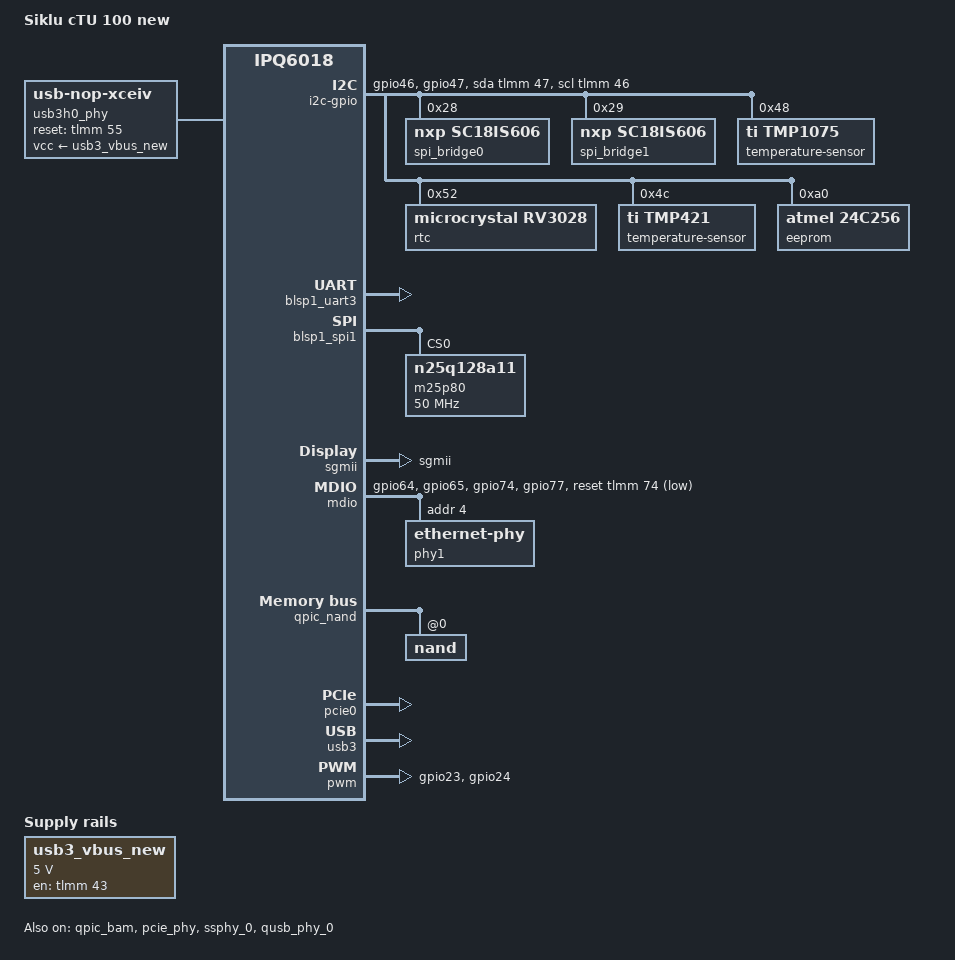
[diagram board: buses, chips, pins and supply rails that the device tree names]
// SPDX-License-Identifier: (GPL-2.0+ OR BSD-3-Clause)
/*
 * IPQ6018 CP01 board device tree source
 *
 * Copyright (c) 2019-2020 The Linux Foundation. All rights reserved.
 */

/dts-v1/;

#include <dt-bindings/gpio/gpio.h>
#include "ipq6018.dtsi"

/ {
	model = "Siklu cTU 100 new";
	compatible = "siklu,ipq6018-ctu", "qcom,ipq6018";

	aliases {
		serial0 = &blsp1_uart3;
		ethernet0 = &sgmii;
		ethernet1 = &wigig0;
		wigig_device_tu = &wigig0;
	};

	/* Declare wigig devices for the gen_node_info_file.sh script.
	   Note that this declaration is not used by any driver and resides in
	   the dts by Facebook convention only. */
	wigig_devices {
		wigig0: wigig@0 {
			pci-bus = "0000:01:00.0";
		};
	};

	/*
	* We have two HWs: PCB263A v1 and PCB263A v2. 
	* On PCB263A v1 (old), the USB reset pin is on GPIO55, 
	* On PCB263A v2 (new). the USB reset pin is on GPIO43.
	* In order to support both of them together, we will need to 
	* reset both pins. In order to do so, we are using the `reset-gpios`
	* to trigger the old reset, along with a fixed regulator passed
	* through `vcc-supply` to trigger the new reset.
	* So at the end, both GPIOs will be active once usb3h0_phy will be 
	* needed.
	*/
	usb3_vbus_new: regulator-usb3-new {
		compatible = "regulator-fixed";
		regulator-min-microvolt = <5000000>;
		regulator-max-microvolt = <5000000>;
		gpio = <&tlmm 43 GPIO_ACTIVE_HIGH>;
		enable-active-high;
		regulator-name = "usb3_vbus";
		status = "okay";
		pinctrl-0 = <&usb3_reset_pins_new>;
		pinctrl-names = "default";
	};

	usb3h0_phy: usb3_phy0 {
		compatible = "usb-nop-xceiv";
		reset-gpios = <&tlmm 55 GPIO_ACTIVE_HIGH>;
		pinctrl-0 = <&usb3_reset_pins_old>;
		pinctrl-names = "default";
		vcc-supply = <&usb3_vbus_new>;
	};

	chosen {
		stdout-path = "serial0:115200n8";
		bootargs = " swiotlb=1 isolcpus=2,3 ro cma=32m default_hugepagesz=2m hugepagesz=2m hugepages=80 usbcore.quirks=2357:0601:k";
	};

	/*
	* +=========+==============+========================+
	* |        |              |                         |
	* | Region | Start Offset |          Size           |
	* |        |              |                         |
	* +--------+--------------+-------------------------+
	* |        |              |                         |
	* |        |              |                         |
	* |        |              |                         |
	* |        |              |                         |
	* | Linux  |  0x41000000  |         139MB           |
	* |        |              |                         |
	* |        |              |                         |
	* |        |              |                         |
	* +--------+--------------+-------------------------+
	* | TZ App |  0x49B00000  |           6MB           |
	* +--------+--------------+-------------------------+
	*
	* From the available 145 MB for Linux in the first 256 MB,
	* we are reserving 6 MB for TZAPP.
	*
	* Refer arch/arm64/boot/dts/qcom/ipq6018-memory.dtsi
	* for memory layout.
	*/

	/* TZApp is enabled in default memory profile only. */
	/* This below reservation must be updated when LM support is added. */
	reserved-memory {
		tzapp:tzapp@49B00000 {  /* TZAPPS */
			no-map;
			reg = <0x0 0x49B00000 0x0 0x00600000>;
		};

		ramoops@50000000 {
			compatible = "ramoops";
			reg = <0x0 0x50000000 0x0 0x10000>;
			record-size = <0x4000>;
		};
	};

	i2c-gpio {
		compatible = "i2c-gpio";
		#address-cells = <1>;
		#size-cells = <0>;
		pinctrl-0 = <&i2c_gpio_pins>;
		pinctrl-names = "default";
		scl-gpios = <&tlmm 46 (GPIO_ACTIVE_HIGH | GPIO_OPEN_DRAIN)>;
		sda-gpios = <&tlmm 47 (GPIO_ACTIVE_HIGH | GPIO_OPEN_DRAIN)>;
		status = "okay";

		// // move to dtso?
		spi_bridge0: spi@28 {
			compatible = "nxp,sc18is606";
			reg = <0x28>;
			// spidev in compatible string is not supported so use random one from supported list...
			spidev@0 {
				compatible = "menlo,m53cpld";
				reg = <0>;
				// tweak speed later
				spi-max-frequency = <25000000>;
			};
			spidev@1 {
				compatible = "menlo,m53cpld";
				reg = <0>;
				spi-max-frequency = <25000000>;
			};
			spidev@2 {
				compatible = "menlo,m53cpld";
				reg = <0>;
				spi-max-frequency = <25000000>;
			};
		};
		// move to dtso?
		spi_bridge1: spi@29 {
			compatible = "nxp,sc18is606";
			reg = <0x29>;
			
			spidev@0 {
				compatible = "menlo,m53cpld";
				reg = <0>;
				spi-max-frequency = <25000000>;
			};
			spidev@1 {
				compatible = "menlo,m53cpld";
				reg = <0>;
				spi-max-frequency = <25000000>;
			};
			spidev@2 {
				compatible = "menlo,m53cpld";
				reg = <0>;
				spi-max-frequency = <25000000>;
			};
		};

		// move to dtso as part of RF board
		temperature-sensor@48 {
				compatible = "ti,tmp1075";
				reg = <0x48>;
		};

		rtc@52 {
			device_type = "rtc";
			compatible = "microcrystal,rv3028";
			reg = <0x52>;
			backup-switchover-mode;
			dsm-mode;
			trickle-resistor-ohms = <3000>;
		};

		temperature-sensor@4c {
			compatible = "ti,tmp421";
			reg = <0x4c>;
		};

		eeprom@a0 {
			compatible = "atmel,24c256"; // AT24CM02 should be compatible with this
			reg = <0xa0>;
			pagesize = <256>; 
			status = "okay";
		};
	};
};

&blsp1_uart3 {
	pinctrl-0 = <&serial_3_pins>;
	pinctrl-names = "default";
	status = "ok";
};

&blsp1_spi1 {
	cs-select = <0>;
	status = "ok";

	m25p80@0 {
		#address-cells = <1>;
		#size-cells = <1>;
		reg = <0>;
		compatible = "n25q128a11";
		spi-max-frequency = <50000000>;

		partitions {
			compatible = "qcom,smem-part";
		};
	};
};

&tlmm {
	i2c_gpio_pins: i2c-gpio-pins {
		pins = "gpio46", "gpio47";
		function = "gpio";
		drive-strength = <8>;
	};

	spi_0_pins: spi-0-pins {
		pins = "gpio38", "gpio39", "gpio40", "gpio41";
		function = "blsp0_spi";
		drive-strength = <8>;
		bias-pull-down;
	};

	usb3_reset_pins_old: usb3-reset-old-pins {
		pins = "gpio55";
		function = "gpio";
		drive-strength = <8>;
	};

	usb3_reset_pins_new: usb3-reset-new-pins {
		pins = "gpio43";
		function = "gpio";
		drive-strength = <8>;
		bias-pull-up;
	};

	pwm_pins: pwm-pins {
		/* Power LED yellow part */
		mux_0 {
			pins = "gpio23";
			function = "pwm12";
		};
		/* Power LED green part */
		mux_1 {
			pins = "gpio24";
			function = "pwm22";
		};
	};

	mdio_pins: mdio_pinmux {
		mux_0 {
			pins = "gpio64";
			function = "mdc";
			drive-strength = <8>;
			bias-pull-up;
		};
		mux_1 {
			pins = "gpio65";
			function = "mdio";
			drive-strength = <8>;
			bias-pull-up;
		};
		mux_2 {
			pins = "gpio74";
			function = "gpio";
			bias-pull-up;
		};
		mux_3 {
			pins = "gpio77";
			function = "gpio";
			bias-pull-up;
		};
	};
};

&soc {
	sgmii: dp2 {
		device_type = "network";
		compatible = "qcom,nss-dp";
		qcom,id = <3>;
		reg = <0x0 0x3a001600 0x0 0x200>;
		qcom,mactype = <0>;
		local-mac-address = [000000000000];
		qcom,link-poll = <1>;
		mdio-bus = <&mdio>;
		qcom,phy-mdio-addr = <4>;
		phy-mode = "sgmii";
		siklu_port_name = "eth1";
	};

	ess-switch@3a000000 {
		switch_cpu_bmp = <0x1>;  /* cpu port bitmap */
		switch_lan_bmp = <0x18>; /* lan port bitmap */
		switch_wan_bmp = <0x20>; /* wan port bitmap */
		switch_inner_bmp = <0xc0>; /*inner port bitmap*/
		switch_mac_mode = <0x0>; /* mac mode for uniphy instance0*/
		switch_mac_mode1 = <0xf>; /* mac mode for uniphy instance1*/
		switch_mac_mode2 = <0xff>; /* mac mode for uniphy instance2*/
		mdio-bus = <&mdio>;
		qcom,port_phyinfo {
			port@4 {
				port_id = <3>;
				phy_address = <4>;
			};
		};
	};
};

&mdio {
	pinctrl-0 = <&mdio_pins>;
	pinctrl-names = "default";
	reset-gpios = <&tlmm 74 GPIO_ACTIVE_LOW>;
	reset-assert-us = <2000>;
	status = "okay";
	phy1: ethernet-phy@4 {
		reg = <4>;
	};
};

&qpic_bam {
	status = "ok";
};

&qpic_nand {
	status = "ok";

	nand@0 {
		reg = <0>;
		#address-cells = <1>;
		#size-cells = <1>;

		nand-ecc-strength = <8>;
		nand-ecc-step-size = <512>;
		nand-bus-width = <8>;
	};
};

&pcie_phy {
	status = "ok";
};

&pcie0 {
	perst-gpio = <&tlmm 60 1>;

	status = "ok";
};

&ssphy_0 {
	status = "ok";
};

&qusb_phy_0 {
	status = "ok";
};

&usb3 {
	status = "ok";
};

&dwc_0 { 
	usb-phy = <&usb3h0_phy>;
};

&pwm {
	pinctrl-0 = <&pwm_pins>;
	pinctrl-names = "default";
	status = "okay";
};
